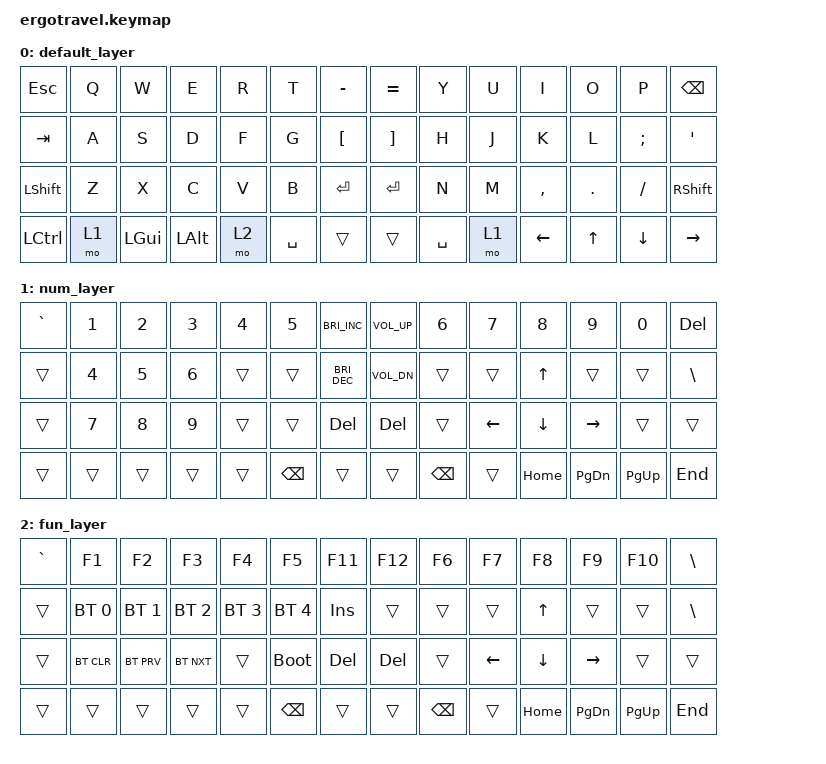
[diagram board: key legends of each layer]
/*
 * Copyright (c) 2020 The ZMK Contributors
 *
 * SPDX-License-Identifier: MIT
 */


#include <behaviors.dtsi>
#include <dt-bindings/zmk/keys.h>
#include <dt-bindings/zmk/bt.h>
#include <dt-bindings/zmk/outputs.h>

#define BASE 0
#define NUM  1
#define FUN  2

&mt {
  quick-tap-ms = <100>;
  global-quick-tap;
  flavor = "tap-preferred";
  tapping-term-ms = <180>;
};

/ {
    keymap {
        compatible = "zmk,keymap";

        default_layer {
            bindings = <
&kp ESC    &kp Q         &kp W         &kp E         &kp R         &kp T        &kp MINUS                 &kp EQUAL     &kp Y         &kp U        &kp I         &kp O          &kp P         &kp BSPC
&kp TAB    &kp A         &kp S         &kp D         &kp F         &kp G        &kp LBKT                  &kp RBKT      &kp H         &kp J        &kp K         &kp L          &kp SEMI      &kp SQT
&kp LSHFT  &kp Z         &kp X         &kp C         &kp V         &kp B        &kp RET                   &kp RET       &kp N         &kp M        &kp COMMA     &kp DOT        &kp FSLH      &kp RSHFT 
&kp LCTRL  &mo 1         &kp LGUI      &kp LALT      &mo 2         &kp SPACE    &trans                    &trans        &kp SPACE     &mo 1        &kp LEFT      &kp UP         &kp DOWN      &kp RIGHT
            >;
        };

        num_layer {
            bindings = <
&kp GRAVE  &kp NUMBER_1  &kp NUMBER_2  &kp NUMBER_3  &kp NUMBER_4  &kp NUMBER_5  &kp C_BRI_INC            &kp C_VOL_UP  &kp NUMBER_6  &kp NUMBER_7 &kp NUMBER_8  &kp NUMBER_9   &kp NUMBER_0  &kp DEL         
&trans     &kp NUMBER_4  &kp NUMBER_5  &kp NUMBER_6  &trans        &trans        &kp C_BRI_DEC            &kp C_VOL_DN  &trans        &trans       &kp UP        &trans         &trans        &kp BACKSLASH  
&trans     &kp NUMBER_7  &kp NUMBER_8  &kp NUMBER_9  &trans        &trans        &kp DEL                  &kp DEL       &trans        &kp LEFT     &kp DOWN      &kp RIGHT      &trans        &trans 
&trans     &trans        &trans        &trans        &trans        &kp BSPC      &trans                   &trans        &kp BSPC      &trans       &kp HOME      &kp PAGE_DOWN  &kp PAGE_UP   &kp END           
            >;
        };

        fun_layer {
            bindings = <
&kp GRAVE  &kp F1        &kp F2        &kp F3        &kp F4        &kp F5        &kp F11                  &kp F12       &kp F6         &kp F7      &kp F8        &kp F9          &kp F10       &kp BACKSLASH         
&trans     &bt BT_SEL 0  &bt BT_SEL 1  &bt BT_SEL 2  &bt BT_SEL 3  &bt BT_SEL 4  &kp INSERT               &trans        &trans         &trans      &kp UP        &trans          &trans        &kp BACKSLASH
&trans     &bt BT_CLR    &bt BT_PRV    &bt BT_NXT    &trans        &bootloader   &kp DEL                  &kp DEL       &trans         &kp LEFT    &kp DOWN      &kp RIGHT       &trans        &trans 
&trans     &trans        &trans        &trans        &trans        &kp BSPC      &trans                   &trans        &kp BSPC       &trans      &kp HOME      &kp PAGE_DOWN   &kp PAGE_UP   &kp END      
            >;
        };
    };
};
 

